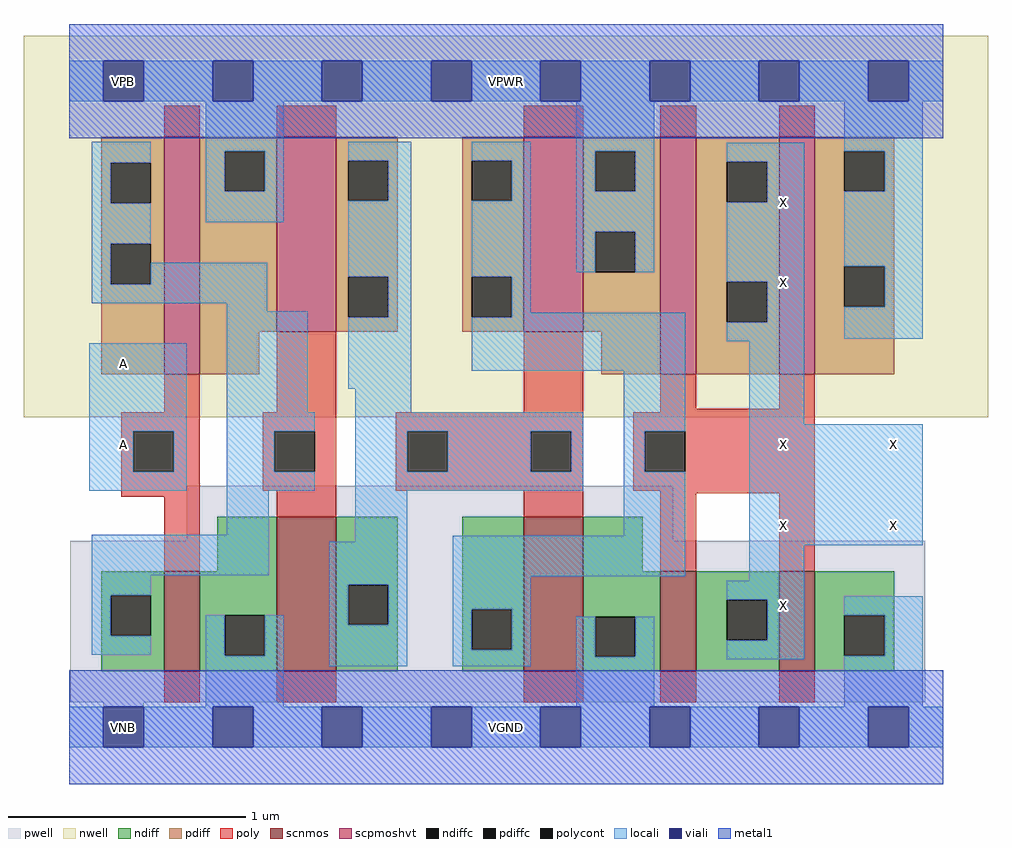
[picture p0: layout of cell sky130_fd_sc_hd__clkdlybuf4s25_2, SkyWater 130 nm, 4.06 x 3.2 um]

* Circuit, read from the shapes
.subckt sky130_fd_sc_hd__clkdlybuf4s25_2 A VGND VNB VPB VPWR X
XM1 VGND A n1 VNB sky130_fd_pr__nfet_01v8 w=0.42 l=0.15
XM2 n2 n1 VGND VNB sky130_fd_pr__nfet_01v8 w=0.65 l=0.25
XM3 VGND n2 n3 VNB sky130_fd_pr__nfet_01v8 w=0.65 l=0.25
XM4 X n3 VGND VNB sky130_fd_pr__nfet_01v8 w=0.42 l=0.15 m=2
XM5 VPWR A n1 VPB sky130_fd_pr__pfet_01v8_hvt w=1 l=0.15
XM6 n2 n1 VPWR VPB sky130_fd_pr__pfet_01v8_hvt w=0.82 l=0.25
XM7 VPWR n2 n3 VPB sky130_fd_pr__pfet_01v8_hvt w=0.82 l=0.25
XM8 X n3 VPWR VPB sky130_fd_pr__pfet_01v8_hvt w=1 l=0.15 m=2
.ends

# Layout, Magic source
magic
tech sky130B
magscale 1 2
<< nwell >>
rect -38 261 774 582
<< pwell >>
rect 99 157 509 203
rect 1 21 721 157
rect 29 -17 63 21
<< scnmos >>
rect 80 47 110 131
rect 175 47 225 177
rect 383 47 433 177
rect 498 47 528 131
rect 598 47 628 131
<< scpmoshvt >>
rect 80 297 110 497
rect 175 333 225 497
rect 383 333 433 497
rect 498 297 528 497
rect 598 297 628 497
<< ndiff >>
rect 125 131 175 177
rect 27 111 80 131
rect 27 77 35 111
rect 69 77 80 111
rect 27 47 80 77
rect 110 94 175 131
rect 110 60 131 94
rect 165 60 175 94
rect 110 47 175 60
rect 225 120 277 177
rect 225 86 235 120
rect 269 86 277 120
rect 225 47 277 86
rect 331 99 383 177
rect 331 65 339 99
rect 373 65 383 99
rect 331 47 383 65
rect 433 131 483 177
rect 433 93 498 131
rect 433 59 443 93
rect 477 59 498 93
rect 433 47 498 59
rect 528 107 598 131
rect 528 73 554 107
rect 588 73 598 107
rect 528 47 598 73
rect 628 94 695 131
rect 628 60 653 94
rect 687 60 695 94
rect 628 47 695 60
<< pdiff >>
rect 27 475 80 497
rect 27 441 35 475
rect 69 441 80 475
rect 27 407 80 441
rect 27 373 35 407
rect 69 373 80 407
rect 27 297 80 373
rect 110 485 175 497
rect 110 451 131 485
rect 165 451 175 485
rect 110 333 175 451
rect 225 477 277 497
rect 225 443 235 477
rect 269 443 277 477
rect 225 379 277 443
rect 225 345 235 379
rect 269 345 277 379
rect 225 333 277 345
rect 331 477 383 497
rect 331 443 339 477
rect 373 443 383 477
rect 331 379 383 443
rect 331 345 339 379
rect 373 345 383 379
rect 331 333 383 345
rect 433 485 498 497
rect 433 451 443 485
rect 477 451 498 485
rect 433 417 498 451
rect 433 383 443 417
rect 477 383 498 417
rect 433 333 498 383
rect 110 297 160 333
rect 448 297 498 333
rect 528 476 598 497
rect 528 442 554 476
rect 588 442 598 476
rect 528 375 598 442
rect 528 341 554 375
rect 588 341 598 375
rect 528 297 598 341
rect 628 485 695 497
rect 628 451 653 485
rect 687 451 695 485
rect 628 388 695 451
rect 628 354 653 388
rect 687 354 695 388
rect 628 297 695 354
<< ndiffc >>
rect 35 77 69 111
rect 131 60 165 94
rect 235 86 269 120
rect 339 65 373 99
rect 443 59 477 93
rect 554 73 588 107
rect 653 60 687 94
<< pdiffc >>
rect 35 441 69 475
rect 35 373 69 407
rect 131 451 165 485
rect 235 443 269 477
rect 235 345 269 379
rect 339 443 373 477
rect 339 345 373 379
rect 443 451 477 485
rect 443 383 477 417
rect 554 442 588 476
rect 554 341 588 375
rect 653 451 687 485
rect 653 354 687 388
<< poly >>
rect 80 497 110 523
rect 175 497 225 523
rect 383 497 433 523
rect 498 497 528 523
rect 598 497 628 523
rect 80 265 110 297
rect 175 265 225 333
rect 383 265 433 333
rect 498 268 528 297
rect 598 268 628 297
rect 498 265 628 268
rect 44 249 110 265
rect 44 215 54 249
rect 88 215 110 249
rect 44 194 110 215
rect 163 249 225 265
rect 163 215 173 249
rect 207 215 225 249
rect 163 199 225 215
rect 275 249 433 265
rect 275 215 285 249
rect 319 215 389 249
rect 423 215 433 249
rect 275 199 433 215
rect 475 249 628 265
rect 475 215 485 249
rect 519 215 628 249
rect 475 199 628 215
rect 80 131 110 194
rect 175 177 225 199
rect 383 177 433 199
rect 498 197 628 199
rect 498 131 528 197
rect 598 131 628 197
rect 80 21 110 47
rect 175 21 225 47
rect 383 21 433 47
rect 498 21 528 47
rect 598 21 628 47
<< polycont >>
rect 54 215 88 249
rect 173 215 207 249
rect 285 215 319 249
rect 389 215 423 249
rect 485 215 519 249
<< locali >>
rect 0 527 29 561
rect 63 527 121 561
rect 155 527 213 561
rect 247 527 305 561
rect 339 527 397 561
rect 431 527 489 561
rect 523 527 581 561
rect 615 527 673 561
rect 707 527 736 561
rect 19 475 69 493
rect 19 441 35 475
rect 19 407 69 441
rect 115 485 181 527
rect 115 451 131 485
rect 165 451 181 485
rect 115 425 181 451
rect 235 477 288 493
rect 269 443 288 477
rect 19 373 35 407
rect 69 373 167 391
rect 19 357 167 373
rect 133 350 167 357
rect 235 379 288 443
rect 17 249 99 323
rect 17 215 54 249
rect 88 215 99 249
rect 17 199 99 215
rect 133 265 201 350
rect 269 345 288 379
rect 235 285 288 345
rect 339 477 389 493
rect 373 443 389 477
rect 339 379 389 443
rect 427 485 493 527
rect 427 451 443 485
rect 477 451 493 485
rect 427 417 493 451
rect 427 383 443 417
rect 477 383 493 417
rect 554 476 619 492
rect 588 442 619 476
rect 373 349 389 379
rect 554 375 619 442
rect 373 345 519 349
rect 339 300 519 345
rect 588 341 619 375
rect 554 325 619 341
rect 653 485 719 527
rect 687 451 719 485
rect 653 388 719 451
rect 687 354 719 388
rect 653 327 719 354
rect 241 265 288 285
rect 133 249 207 265
rect 133 215 173 249
rect 133 199 207 215
rect 241 249 433 265
rect 241 215 285 249
rect 319 215 389 249
rect 423 215 433 249
rect 241 199 433 215
rect 467 249 519 300
rect 467 215 485 249
rect 133 162 168 199
rect 19 128 168 162
rect 241 156 285 199
rect 467 161 519 215
rect 19 111 69 128
rect 19 77 35 111
rect 219 120 285 156
rect 19 61 69 77
rect 115 60 131 94
rect 165 60 181 94
rect 115 17 181 60
rect 219 86 235 120
rect 269 86 285 120
rect 219 51 285 86
rect 323 127 519 161
rect 573 255 619 325
rect 573 153 719 255
rect 323 99 389 127
rect 573 123 619 153
rect 323 65 339 99
rect 373 65 389 99
rect 554 107 619 123
rect 323 51 389 65
rect 427 59 443 93
rect 477 59 493 93
rect 427 17 493 59
rect 588 73 619 107
rect 554 57 619 73
rect 653 94 719 110
rect 687 60 719 94
rect 653 17 719 60
rect 0 -17 29 17
rect 63 -17 121 17
rect 155 -17 213 17
rect 247 -17 305 17
rect 339 -17 397 17
rect 431 -17 489 17
rect 523 -17 581 17
rect 615 -17 673 17
rect 707 -17 736 17
<< viali >>
rect 29 527 63 561
rect 121 527 155 561
rect 213 527 247 561
rect 305 527 339 561
rect 397 527 431 561
rect 489 527 523 561
rect 581 527 615 561
rect 673 527 707 561
rect 29 -17 63 17
rect 121 -17 155 17
rect 213 -17 247 17
rect 305 -17 339 17
rect 397 -17 431 17
rect 489 -17 523 17
rect 581 -17 615 17
rect 673 -17 707 17
<< metal1 >>
rect 0 561 736 592
rect 0 527 29 561
rect 63 527 121 561
rect 155 527 213 561
rect 247 527 305 561
rect 339 527 397 561
rect 431 527 489 561
rect 523 527 581 561
rect 615 527 673 561
rect 707 527 736 561
rect 0 496 736 527
rect 0 17 736 48
rect 0 -17 29 17
rect 63 -17 121 17
rect 155 -17 213 17
rect 247 -17 305 17
rect 339 -17 397 17
rect 431 -17 489 17
rect 523 -17 581 17
rect 615 -17 673 17
rect 707 -17 736 17
rect 0 -48 736 -17
<< labels >>
flabel locali s 585 221 619 255 0 FreeSans 200 0 0 0 X
port 6 nsew signal output
flabel locali s 585 85 619 119 0 FreeSans 200 0 0 0 X
port 6 nsew signal output
flabel locali s 585 425 619 459 0 FreeSans 200 0 0 0 X
port 6 nsew signal output
flabel locali s 677 153 711 187 0 FreeSans 200 0 0 0 X
port 6 nsew signal output
flabel locali s 585 153 619 187 0 FreeSans 200 0 0 0 X
port 6 nsew signal output
flabel locali s 585 357 619 391 0 FreeSans 200 0 0 0 X
port 6 nsew signal output
flabel locali s 677 221 711 255 0 FreeSans 200 0 0 0 X
port 6 nsew signal output
flabel locali s 29 289 63 323 0 FreeSans 200 0 0 0 A
port 1 nsew signal input
flabel locali s 29 221 63 255 0 FreeSans 200 0 0 0 A
port 1 nsew signal input
flabel pwell s 29 -17 63 17 0 FreeSans 200 0 0 0 VNB
port 3 nsew ground bidirectional
flabel nwell s 29 527 63 561 0 FreeSans 200 0 0 0 VPB
port 4 nsew power bidirectional
flabel metal1 s 29 527 63 561 0 FreeSans 200 0 0 0 VPWR
port 5 nsew power bidirectional abutment
flabel metal1 s 29 -17 63 17 0 FreeSans 200 0 0 0 VGND
port 2 nsew ground bidirectional abutment
rlabel comment s 0 0 0 0 4 clkdlybuf4s25_2
rlabel metal1 s 0 -48 736 48 1 VGND
port 2 nsew ground bidirectional abutment
rlabel metal1 s 0 496 736 592 1 VPWR
port 5 nsew power bidirectional abutment
<< properties >>
string FIXED_BBOX 0 0 736 544
string GDS_END 3268368
string GDS_FILE $PDKPATH/libs.ref/sky130_fd_sc_hd/gds/sky130_fd_sc_hd.gds
string GDS_START 3261756
string LEFclass CORE
string LEFsite unithd
string LEFsymmetry X Y R90
string path 0.000 13.600 18.400 13.600 
<< end >>
